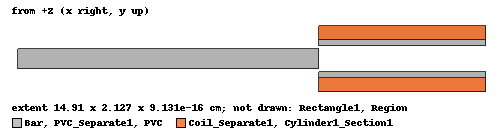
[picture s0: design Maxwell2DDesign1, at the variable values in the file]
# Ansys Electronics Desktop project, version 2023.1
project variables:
  $r_wire = 0.00025meter
  $r_coil_ext = 0.010635meter
  $r_coil_int = 0.006035meter
  $N = 750
  $copper_lenght = 41.33meter
  $h_coil = 0.05312meter
  $coil_current = 3.5A
  $coil_voltage = 13V
  $r_pvc = 0.00404meter
  $l_bar = 0.096meter
  $r_bar = 0.003045
  $coil_resistance = 3.65ohm
  $bar_mass = $l_bar*$r_bar^2*pi*7800
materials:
  vacuum: permittivity=1
  copper: permeability=0.999991 conductivity=10000000000000
  PVC plastic: permittivity=2.7 dielectric_loss_tangent=0.007
  air: permittivity=1.0006 permeability=1.0000004
  steel_stainless: conductivity=1100000
  Cast iron, EN GJL 100: permeability{HUnit=A_per_meter BUnit=tesla curve (0, 0) (587.829, 0.1) (950.686, 0.2) (1313.54, 0.3) (1785.78, 0.4) (2539.27, 0.5) (3405.34, 0.6) (4758.27, 0.7) (6546.86, 0.8) (9406.73, 0.9) (12834.4, 1) (16836.6, 1.1) (24093.7, 1.2) (31350.9, 1.3) (42519.6, 1.4) (59106.1, 1.5) (79828.6, 1.6) (116114, 1.7) (152400, 1.8)} conductivity=1205510
  Al-Extruded

design Maxwell2DDesign1 (Maxwell 2D, Transient, XY geometry, model units cm)
options: ModelDepth=1meter
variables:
  posicion = 0mm
  velocidad = 0.001m_per_sec
  T_total = 0.5s
  Steps = 50
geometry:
  Coil#15 = cylinder(axis=Z, base_centre=(0cm, 0cm, 0cm), radius=$r_coil_ext, height=$h_coil)
  Cylinder2 = cylinder(axis=Z, base_centre=(0cm, 0cm, 0cm), radius=$r_coil_int, height=$h_coil)
  Coil#15.subtract(Cylinder2)
  PVC#37 = cylinder(axis=Z, base_centre=(0cm, 0cm, 0cm), radius=$r_coil_int, height=$h_coil)
  Cylinder4 = cylinder(axis=Z, base_centre=(0cm, 0cm, 0cm), radius=$r_pvc, height=$h_coil)
  PVC#37.subtract(Cylinder4)
  Region [air] = region(percentage_offset: +X=300, -X=300, +Y=100, -Y=100, +Z=100, -Z=100)
  Cylinder1_Section1 [copper] = Coil#15.section(plane=YZ)
  Cylinder1_Section1.separate_bodies()
  Bar#111 = cylinder(axis=Z, base_centre=(0m, 0m, -$l_bar), radius=$r_bar, height=$l_bar)
  Coil#119 = Coil#15.section(plane=YZ)
  Coil#15.delete()
  Coil#119.rotate(axis=Y, angle=90deg)
  Coil#119.rotate(axis=Z, angle=90deg)
  PVC [PVC plastic] = PVC#37.section(plane=YZ)
  PVC#37.delete()
  PVC.rotate(axis=Y, angle=90deg)
  PVC.rotate(axis=Z, angle=90deg)
  Cylinder1_Section1.rotate(axis=Y, angle=90deg)
  Cylinder1_Section1.rotate(axis=Z, angle=90deg)
  Bar [Cast iron, EN GJL 100] = Bar#111.section(plane=YZ)
  Bar#111.delete()
  Bar.rotate(axis=Y, angle=90deg)
  Bar.rotate(axis=Z, angle=90deg)
  Cylinder1_Section1.separate_bodies()
  Rectangle1 [vacuum] = rectangle(corner=(-($r_coil_int+0.001)/2, 0, 0), x_size=$r_coil_int+1mm, y_size=8*$l_bar)
  PVC_Separate1 [PVC plastic] = PVC.separate_bodies()
  Coil_Separate1 [copper] = Coil#119.separate_bodies()
  Coil#119.delete()
  Rectangle1.move(0cm, -20cm, 0cm)
  [Cylinder1_Section1, PVC, Bar, Rectangle1, PVC_Separate1, Coil_Separate1].rotate(axis=Z, angle=-90deg)
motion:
  MotionSetup1: Band Move_Type=Translate Coordinate_System=Global PostProcessing_Coordinate_System=Global Axis=X Is_Positive=true InitPos=0 NegativePos=0 PositivePos=30cm Velocity=0m_per_sec Mass=$bar_mass Damping=0.8 Load_Force=0newton Objects=Rectangle1
  Moving1: Moving Objects=Bar
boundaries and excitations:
  Balloon1: Balloon Edges=Region.edge(all 4)
  Coil_Separate1: Coil Objects=Coil_Separate1 Conductor_number=$N Winding=Winding1 PolarityType=Positive
  Cylinder1_Section1: Coil Objects=Cylinder1_Section1 Conductor_number=$N Winding=Winding1 PolarityType=Negative
  Winding1: Winding Group Type=External IsSolid=false Current=$coil_current ParallelBranchesNum=1
  external circuit: "* Design: PFG2D_ckt\"
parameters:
  Force1: Force Reference_CS=Global Objects=Bar
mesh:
  Length1: LengthBased RefineInside Objects=Rectangle1 MaxLength=2mm
  Length2: LengthBased RefineInside Objects=[Cylinder1_Section1, Coil_Separate1] NumMaxElem=20000
  Length3: LengthBased Objects=Bar NumMaxElem=20000
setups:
  Setup1: Transient NonlinearSolverResidual=0.0001 StopTime=40ms TimeStep=1ms SaveFieldsType="Every N Steps" N_Steps=1 Steps_From=0s Steps_To=40ms NumberSolveSteps=1 RangeStart=0s RangeEnd=0.1s InitialTimeStep=0.002s MinTimeStep=0.001s MaxTimeStep=0.003s TimeStepErrTolerance=0.0001
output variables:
  Pmec = Moving1.Force_y*Moving1.Speed
  Pin = Current(Winding1)*InputVoltage(Winding1)
  I_ini = YAtXMax(Current(Winding1))
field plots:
  B_Vector1: B over Bar, Cylinder1_Section1, Coil_Separate1 on Setup1 : Transient at Time=-1
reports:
  Force Plot 3: Force1.Force_x, Current(Winding1) vs Time on Setup1 : Transient
  Speed Plot 1: Moving1.Speed, Moving1.Position vs Time on Setup1 : Transient

design PFG2D_ckt (Maxwell Circuit)
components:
  Winding_2 = Winding(Name=Winding1)
  IPulse_40 = IPulse(I2=$coil_current Period=10 Pw=0.015 Tr=0 Tf=0 I1=0)
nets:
  0: Winding_2.1, IPulse_40.0
  net_1: Winding_2.0, IPulse_40.1
